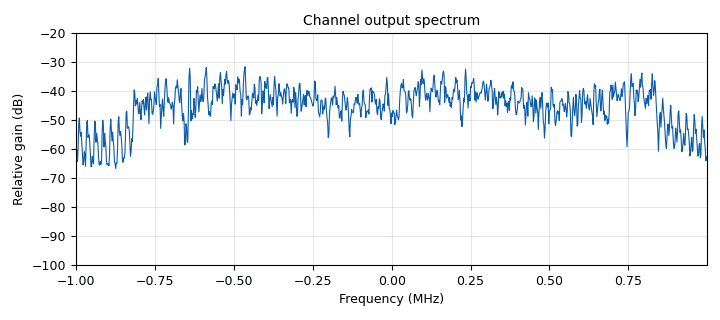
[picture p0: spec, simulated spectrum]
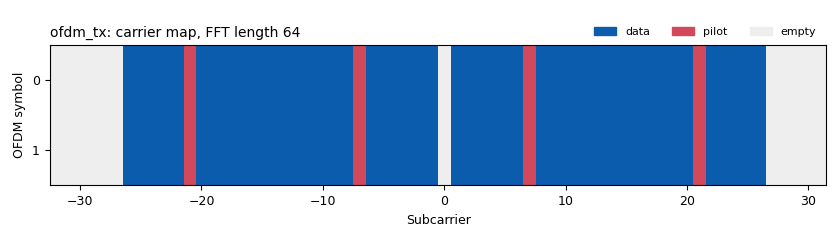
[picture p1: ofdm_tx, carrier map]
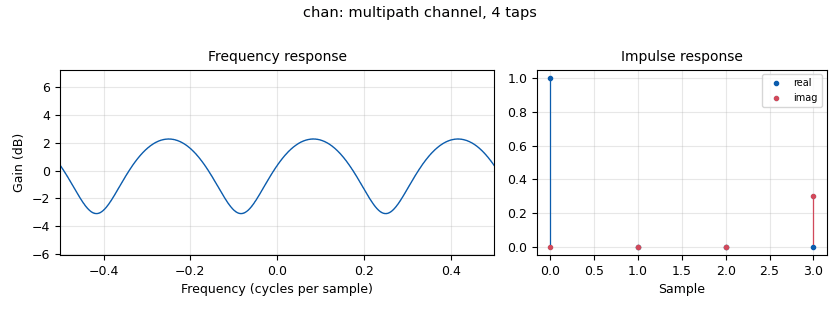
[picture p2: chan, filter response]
options:
  parameters:
    author: NUM Wireless Communication Lab
    description: 'GNU Radio OFDM Transmitter/Receiver through a software channel: check the packet link before using the HackRF Pro.'
    generate_options: qt_gui
    id: lab4_ofdm_packets_sim
    output_language: python
    title: Lab 4a - OFDM packet link (simulation, no hardware)
  states: {}

blocks:
- name: samp_rate
  id: variable
  parameters:
    value: 2e6
  states: {}
- name: center_freq
  id: variable
  parameters:
    value: 433.92e6
    comment: Use only a frequency allowed in your lab / country
  states: {}
- name: fft_len
  id: variable
  parameters:
    value: '64'
  states: {}
- name: cp_len
  id: variable
  parameters:
    value: '16'
  states: {}
- name: packet_len
  id: variable
  parameters:
    value: '64'
    comment: bytes per packet
  states: {}
- name: len_key
  id: variable
  parameters:
    value: '"packet_len"'
  states: {}
- name: occupied_carriers
  id: variable
  parameters:
    value: (list(range(-26, -21)) + list(range(-20, -7)) + list(range(-6, 0)) + list(range(1, 7)) + list(range(8, 21)) + list(range(22, 27)),)
    comment: 48 data subcarriers (DC = 0 is not used)
  states: {}
- name: pilot_carriers
  id: variable
  parameters:
    value: ((-21, -7, 7, 21),)
  states: {}
- name: pilot_symbols
  id: variable
  parameters:
    value: ((1, 1, 1, -1),)
  states: {}
- name: noise_amp
  id: variable_qtgui_range
  parameters:
    label: '"Noise amplitude"'
    value: '0.01'
    start: '0'
    stop: '0.2'
    step: '0.002'
    gui_hint: 0,0,1,1
  states: {}
- name: cfo_sc
  id: variable_qtgui_range
  parameters:
    label: '"CFO [x subcarrier spacing]"'
    value: '0.3'
    start: '-3'
    stop: '3'
    step: '0.05'
    gui_hint: 0,1,1,1
  states: {}
- name: payload_src
  id: blocks_vector_source_x
  parameters:
    type: byte
    vector: list(b"".join(((("NUM OFDM LAB seq=%04d | Hello from HackRF Pro TX" % i).ljust(packet_len - 1) + "\n").encode() for i in range(1000))))
    repeat: 'True'
    comment: 1000 numbered text packets, repeated forever
  states: {}
- name: to_packets
  id: blocks_stream_to_tagged_stream
  parameters:
    type: byte
    packet_len: packet_len
    len_tag_key: len_key
  states: {}
- name: ofdm_tx
  id: digital_ofdm_tx
  parameters:
    fft_len: fft_len
    cp_len: cp_len
    packet_len_key: len_key
    occupied_carriers: occupied_carriers
    pilot_carriers: pilot_carriers
    pilot_symbols: pilot_symbols
    sync_word1: None
    sync_word2: None
    header_mod: '"BPSK"'
    payload_mod: '"QPSK"'
    rolloff: '0'
    comment: |-
      Default 802.11a-like layout: 48 data + 4 pilot subcarriers
      Try payload_mod = BPSK / QPSK / 8-PSK
  states: {}
- name: tx_scale
  id: blocks_multiply_const_vxx
  parameters:
    type: complex
    const: '0.05'
    comment: 'OFDM has a high PAPR: keep the baseband amplitude small'
  states: {}
- name: throttle
  id: blocks_throttle2
  parameters:
    type: complex
    samples_per_second: samp_rate
  states: {}
- name: chan
  id: channels_channel_model
  parameters:
    noise_voltage: noise_amp
    freq_offset: cfo_sc/fft_len
    epsilon: '1.0'
    taps: '[1.0, 0, 0, 0.3j]'
    seed: '0'
    block_tags: 'True'
    comment: Multipath + AWGN + CFO
  states: {}
- name: ofdm_rx
  id: digital_ofdm_rx
  parameters:
    fft_len: fft_len
    cp_len: cp_len
    packet_len_key: '"rx_len"'
    occupied_carriers: occupied_carriers
    pilot_carriers: pilot_carriers
    pilot_symbols: pilot_symbols
    sync_word1: None
    sync_word2: None
    header_mod: '"BPSK"'
    payload_mod: '"QPSK"'
    comment: Must use the SAME parameters as the transmitter
  states: {}
- name: print_packets
  id: blocks_file_sink
  parameters:
    file: '"/dev/stdout"'
    type: byte
    unbuffered: 'True'
    comment: Decoded packets are printed in the GRC console
  states: {}
- name: save_packets
  id: blocks_file_sink
  parameters:
    file: '"rx_packets_sim.txt"'
    type: byte
    unbuffered: 'True'
    comment: 'Packet error rate: python3 lab4_per.py rx_packets_sim.txt'
  states: {}
- name: spec
  id: qtgui_freq_sink_x
  parameters:
    type: complex
    name: '"Channel output spectrum"'
    fftsize: '1024'
    fc: '0'
    bw: samp_rate
    average: '0.2'
    ymin: '-100'
    ymax: '-20'
    grid: 'True'
    gui_hint: 1,0,1,2
  states: {}

connections:
- [payload_src, '0', to_packets, '0']
- [to_packets, '0', ofdm_tx, '0']
- [ofdm_tx, '0', tx_scale, '0']
- [tx_scale, '0', throttle, '0']
- [throttle, '0', chan, '0']
- [chan, '0', ofdm_rx, '0']
- [ofdm_rx, '0', print_packets, '0']
- [ofdm_rx, '0', save_packets, '0']
- [chan, '0', spec, '0']

metadata:
  file_format: 1
  grc_version: 3.10.9.2
